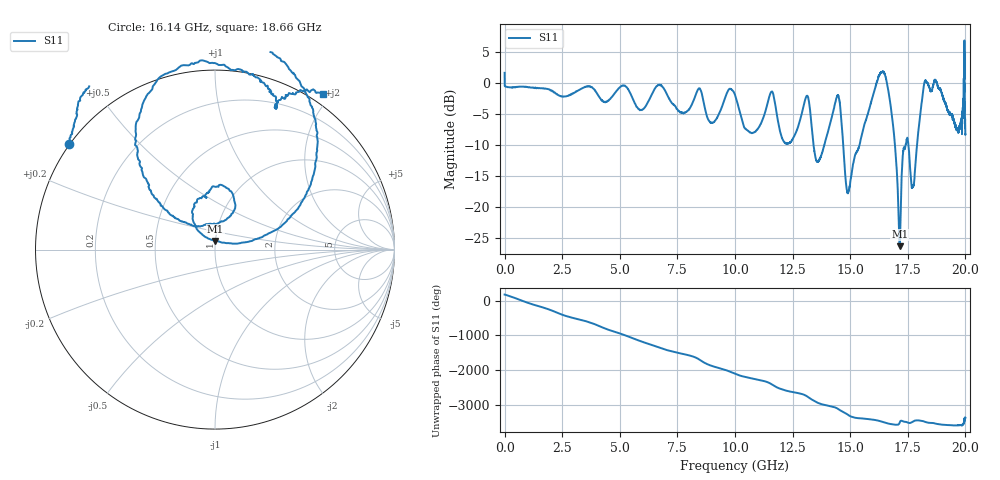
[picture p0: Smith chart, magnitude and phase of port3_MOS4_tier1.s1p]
! Created with skrf 1.8.0 (http://scikit-rf.org).
# GHz S RI R 50.0
!freq ReS11 ImS11
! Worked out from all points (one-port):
!   10001 points, 1 MHz to 20 GHz, reference 50 ohm
!   lowest |S11| = -26.3 dB at 17.15 GHz (marker M1), VSWR 1.10, Z = 50 + j4.84 ohm
!   |S11| at or under -10 dB: 13.41 GHz to 13.88 GHz (466.7 MHz wide, 3.42 % of centre); 14.7 GHz to 15.4 GHz (706.1 MHz wide, 4.69 % of centre); 16.94 GHz to 17.4 GHz (454.5 MHz wide, 2.65 % of centre) (the widest 3 of 4)
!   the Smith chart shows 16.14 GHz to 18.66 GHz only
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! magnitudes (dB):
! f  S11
! 1 MHz  1.6
! 2.501 GHz  -2.2
! 5.001 GHz  -0.7
! 5.929 GHz  -4.3
! 6.751 GHz  -0.3
! 7.501 GHz  -4.3
! 8.455 GHz  -0.8
! 9.021 GHz  -6.4
! 10 GHz  -1.9
! 10.74 GHz  -8.1
! 11.61 GHz  -1.4
! 12.07 GHz  -9.1
! 12.5 GHz  -9.1
! 13.13 GHz  -2.1
! 13.63 GHz  -12.6
! 14.46 GHz  -2.0
! 14.84 GHz  -16.9
! 15 GHz  -16.0
! 16.41 GHz  1.8
! 16.8 GHz  -4.9
! 17.15 GHz  -26.3
! 17.33 GHz  -10.6
! 17.5 GHz  -9.2
! 17.73 GHz  -16.6
! 18.28 GHz  0.3
! 18.74 GHz  0.1
! 19.64 GHz  -7.3
! 20 GHz  -8.3
